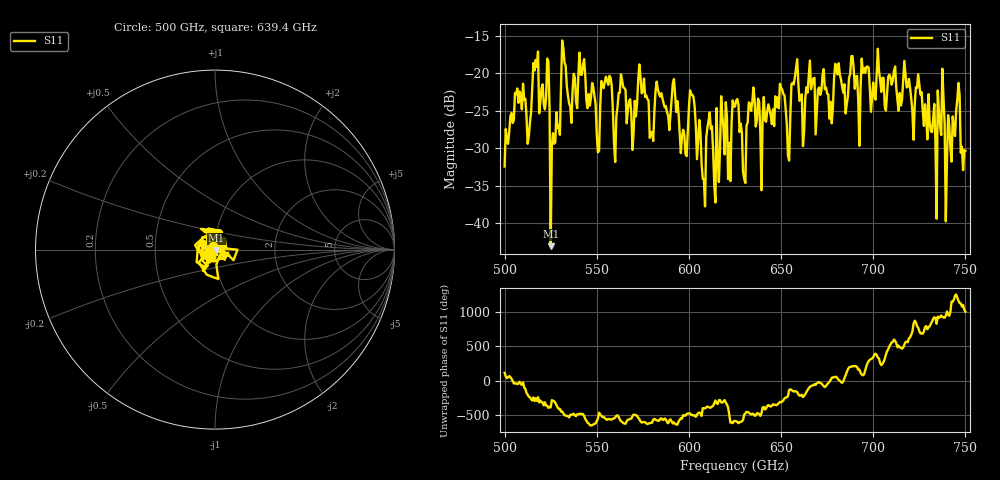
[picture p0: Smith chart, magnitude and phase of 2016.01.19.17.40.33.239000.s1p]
!Created with skrf (http://scikit-rf.org).
# GHz S RI R 50.0
!freq ReS11 ImS11
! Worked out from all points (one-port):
!   401 points, 500 GHz to 750 GHz, reference 50 ohm
!   lowest |S11| = -43.1 dB at 525 GHz (marker M1), VSWR 1.01, Z = 50.6 - j0.29 ohm
!   |S11| at or under -10 dB: start of sweep to end of sweep
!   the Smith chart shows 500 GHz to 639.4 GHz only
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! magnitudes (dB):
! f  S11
! 500 GHz  -32.4
! 506.9 GHz  -22.0
! 513.1 GHz  -28.4
! 516.9 GHz  -18.2
! 525 GHz  -43.1
! 526.2 GHz  -28.0
! 531.2 GHz  -15.7
! 541.9 GHz  -20.2
! 550.6 GHz  -30.6
! 553.8 GHz  -22.0
! 562.5 GHz  -22.6
! 593.8 GHz  -23.7
! 597.5 GHz  -28.2
! 601.9 GHz  -22.9
! 608.1 GHz  -34.2
! 610.6 GHz  -26.4
! 615 GHz  -24.7
! 625 GHz  -24.5
! 630 GHz  -34.1
! 633.8 GHz  -25.0
! 650.6 GHz  -22.2
! 653.8 GHz  -31.0
! 656.2 GHz  -21.3
! 687.5 GHz  -20.1
! 718.8 GHz  -21.8
! 740.6 GHz  -25.6
! 745.6 GHz  -23.5
! 750 GHz  -30.4
